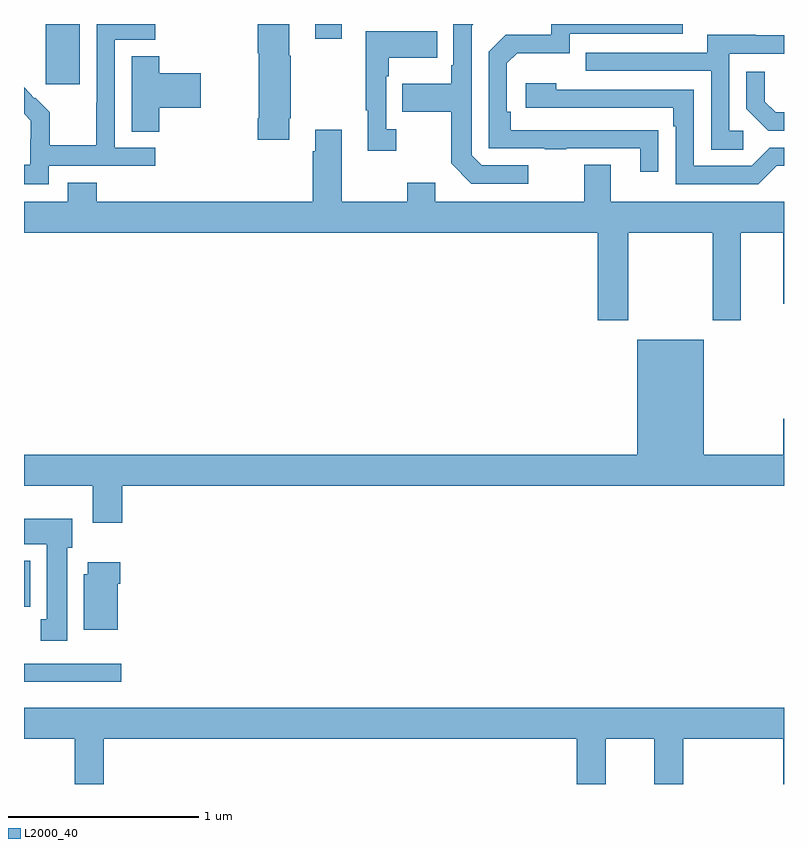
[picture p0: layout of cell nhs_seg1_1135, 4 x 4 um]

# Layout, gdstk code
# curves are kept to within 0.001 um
import gdstk
lib = gdstk.Library(unit=1e-6, precision=1e-09)
def R(c, l, rs):  # rectangles x0, y0, x1, y1
    for r in rs: c.add(gdstk.rectangle(r[:2], r[2:], *l))
def P(c, l, *ps):  # polygons
    for p in ps: c.add(gdstk.Polygon(p, *l))
L2000_40 = (2000, 40)

nhs_seg1_1135 = lib.new_cell('nhs_seg1_1135')
R(nhs_seg1_1135, L2000_40, [(173,514.736,173.512,514.833), (173,515.132,173.032,515.374), (173.114,517.881,173.293,518.199), (174.533,518.121,174.673,518.199)])
P(nhs_seg1_1135, L2000_40, [(174.397,517.702),(174.405,517.702),(174.405,518.033),(174.397,518.033),(174.397,518.199),(174.23,518.199),(174.23,518.044),(174.235,518.044),(174.235,517.702),(174.23,517.702),(174.23,517.59),(174.397,517.59)],
  [(173.13,517.452),(173.692,517.452),(173.692,517.548),(173.478,517.548),(173.478,518.115),(173.692,518.115),(173.692,518.199),(173.382,518.199),(173.382,517.784),(173.38,517.784),(173.38,517.561),(173.135,517.561),(173.135,517.735),(173.058,517.812),(173.055,517.809),(173,517.865),(173,517.726),(173.036,517.69),(173.036,517.593),(173.034,517.593),(173.034,517.459),(173,517.459),(173,517.355),(173.13,517.355)],
  [(175.654,517.455),(175.41,517.455),(175.356,517.509),(175.356,518.19),(175.365,518.199),(175.26,518.199),(175.26,517.981),(175.248,517.981),(175.248,517.885),(174.991,517.885),(174.991,517.738),(175.248,517.738),(175.248,517.465),(175.353,517.359),(175.654,517.359)],
  [(176.339,517.64),(175.562,517.641),(175.562,517.738),(175.542,517.738),(175.542,517.992),(175.595,518.045),(175.872,518.045),(175.872,518.148),(176.467,518.148),(176.467,518.199),(175.776,518.199),(175.776,518.142),(175.536,518.142),(175.446,518.052),(175.446,517.545),(175.741,517.545),(175.741,517.54),(175.853,517.54),(175.853,517.545),(176.243,517.545),(176.243,517.422),(176.339,517.422)],
  [(174.958,517.645),(174.906,517.645),(174.906,517.925),(174.919,517.925),(174.919,518.021),(175.175,518.021),(175.175,518.161),(174.798,518.161),(174.798,517.745),(174.809,517.745),(174.809,517.533),(174.958,517.533)],
  [(176.785,517.638),(176.712,517.638),(176.712,518.043),(177,518.043),(177,518.139),(176.851,518.139),(176.851,518.143),(176.597,518.143),(176.597,518.049),(175.957,518.049),(175.957,517.953),(176.616,517.953),(176.616,517.537),(176.785,517.537)],
  [(173.711,517.757),(173.929,517.757),(173.929,517.94),(173.711,517.94),(173.711,518.03),(173.567,518.03),(173.567,517.633),(173.711,517.633)],
  [(177,517.734),(176.956,517.734),(176.899,517.791),(176.899,517.948),(176.802,517.948),(176.802,517.754),(176.918,517.638),(177,517.638)],
  [(176.961,517.452),(177,517.452),(177,517.548),(176.925,517.548),(176.829,517.452),(176.526,517.452),(176.526,517.854),(175.802,517.854),(175.802,517.888),(175.641,517.888),(175.641,517.758),(176.417,517.758),(176.417,517.661),(176.43,517.661),(176.43,517.356),(176.865,517.356)],
  [(176.181,517.1),(176.626,517.1),(176.626,516.639),(176.773,516.639),(176.773,517.1),(176.996,517.1),(176.996,516.726),(177,516.726),(177,517.264),(176.089,517.264),(176.089,517.459),(175.949,517.459),(175.949,517.264),(175.165,517.264),(175.165,517.363),(175.018,517.363),(175.018,517.264),(174.673,517.264),(174.673,517.642),(174.533,517.642),(174.533,517.529),(174.521,517.529),(174.521,517.264),(173.384,517.264),(173.384,517.363),(173.231,517.363),(173.231,517.264),(173,517.264),(173,517.1),(176.021,517.1),(176.021,516.639),(176.181,516.639)],
  [(173.516,515.768),(177,515.768),(177,516.121),(176.996,516.121),(176.996,515.932),(176.578,515.932),(176.578,516.538),(176.228,516.538),(176.228,515.932),(173,515.932),(173,515.768),(173.363,515.768),(173.363,515.574),(173.516,515.574)],
  [(173.227,515.442),(173.254,515.442),(173.254,515.596),(173,515.596),(173,515.462),(173.12,515.462),(173.12,515.066),(173.087,515.066),(173.087,514.953),(173.227,514.953)],
  [(173.494,515.252),(173.507,515.252),(173.507,515.365),(173.336,515.365),(173.336,515.304),(173.315,515.304),(173.315,515.012),(173.494,515.012)],
  [(173.42,514.436),(175.91,514.436),(175.91,514.199),(176.062,514.199),(176.062,514.436),(176.318,514.436),(176.318,514.199),(176.471,514.199),(176.471,514.436),(176.996,514.436),(176.996,514.199),(177,514.199),(177,514.6),(173,514.6),(173,514.436),(173.267,514.436),(173.267,514.199),(173.42,514.199)])

lib.write_gds('nhs_seg1_1135.gds')
